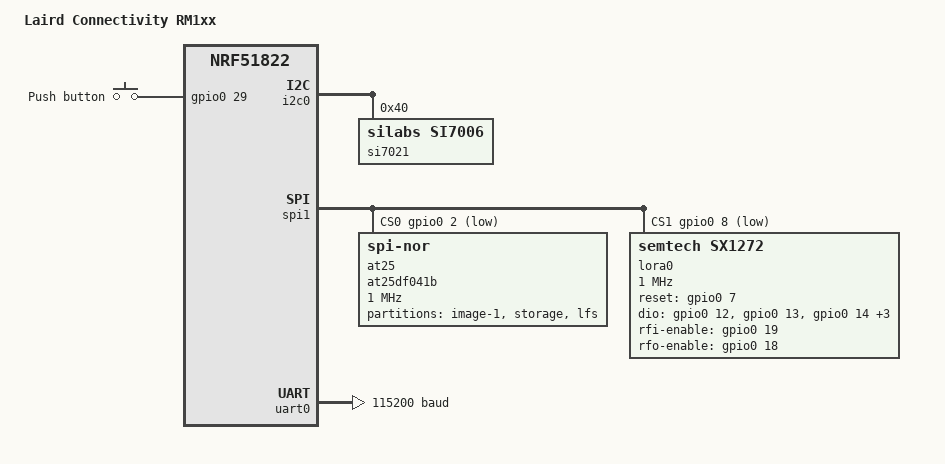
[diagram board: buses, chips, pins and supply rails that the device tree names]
/*
 * Copyright (c) 2021 Laird Connectivity
 * Copyright (c) 2024 Jamie M.
 *
 * SPDX-License-Identifier: Apache-2.0
 */

/dts-v1/;
#include <nordic/nrf51822_qfac.dtsi>
#include "rs1xx-pinctrl.dtsi"
#include <zephyr/dt-bindings/input/input-event-codes.h>

/ {
	model = "Laird Connectivity RM1xx";
	compatible = "lairdconnect,rm1xx";

	chosen {
		zephyr,console = &uart0;
		zephyr,shell-uart = &uart0;
		zephyr,bt-mon-uart = &uart0;
		zephyr,bt-c2h-uart = &uart0;
		zephyr,sram = &sram0;
		zephyr,flash = &flash0;
		zephyr,code-partition = &slot0_partition;
	};

	buttons {
		compatible = "gpio-keys";
		button0: button_0 {
			gpios = <&gpio0 29 (GPIO_PULL_DOWN | GPIO_ACTIVE_HIGH)>;
			label = "Push button";
			zephyr,code = <INPUT_KEY_0>;
		};
	};

	/* These aliases are provided for compatibility with samples */
	aliases {
		sw0 = &button0;
		lora0 = &lora0;
		watchdog0 = &wdt0;
		spi-flash0 = &at25;
	};
};

&gpiote {
	status = "okay";
};

&gpio0 {
	status = "okay";
};

&i2c0 {
	compatible = "nordic,nrf-twi";
	status = "okay";
	pinctrl-0 = <&i2c0_default>;
	pinctrl-1 = <&i2c0_sleep>;
	pinctrl-names = "default", "sleep";

	si7021: si7021@40 {
		compatible = "silabs,si7006";
		reg = <0x40>;
		status = "okay";
	};
};

&spi1 {
	compatible = "nordic,nrf-spi";
	status = "okay";
	cs-gpios = <&gpio0 2 (GPIO_ACTIVE_LOW | GPIO_PULL_UP)>,
		   <&gpio0 8 (GPIO_ACTIVE_LOW | GPIO_PULL_UP)>;

	pinctrl-0 = <&spi1_default>;
	pinctrl-1 = <&spi1_sleep>;
	pinctrl-names = "default", "sleep";

	at25: at25df041b@0 {
		compatible = "jedec,spi-nor";
		reg = <0>;
		spi-max-frequency = <1000000>;
		jedec-id = [1f 44 02];
		size = <0x400000>;
		has-lock = <0xbc>;
		has-dpd;
		t-enter-dpd = <500>;
		t-exit-dpd = <20>;
	};

	lora0: lora@1 {
		compatible = "semtech,sx1272";
		reg = <1>;
		reset-gpios = <&gpio0 7 GPIO_ACTIVE_HIGH>;
		dio-gpios = <&gpio0 12 GPIO_ACTIVE_HIGH>,
			    <&gpio0 13 GPIO_ACTIVE_HIGH>,
			    <&gpio0 14 GPIO_ACTIVE_HIGH>,
			    <&gpio0 15 GPIO_ACTIVE_HIGH>,
			    <&gpio0 16 GPIO_ACTIVE_HIGH>,
			    <&gpio0 1 GPIO_ACTIVE_HIGH>;
		rfi-enable-gpios = <&gpio0 19 GPIO_ACTIVE_HIGH>;
		rfo-enable-gpios = <&gpio0 18 GPIO_ACTIVE_HIGH>;
		spi-max-frequency = <1000000>;
	};
};

&uart0 {
	compatible = "nordic,nrf-uart";
	current-speed = <115200>;
	status = "okay";
	pinctrl-0 = <&uart0_default>;
	pinctrl-1 = <&uart0_sleep>;
	pinctrl-names = "default", "sleep";
};

&flash0 {
	partitions {
		compatible = "fixed-partitions";
		#address-cells = <1>;
		#size-cells = <1>;

		/* 32KiB */
		boot_partition: partition@0 {
			label = "mcuboot";
			reg = <0x00000000 0x00008000>;
		};

		/* 224KiB */
		slot0_partition: partition@8000 {
			label = "image-0";
			reg = <0x00008000 0x00038000>;
		};
	};
};

&at25 {
	partitions {
		compatible = "fixed-partitions";
		#address-cells = <1>;
		#size-cells = <1>;

		/* 224KiB */
		slot1_partition: partition@0 {
			label = "image-1";
			reg = <0x00000000 0x00038000>;
		};

		/* 64KiB */
		storage_partition: partition@38000 {
			label = "storage";
			reg = <0x00038000 0x00010000>;
		};

		/* 224KiB */
		lfs_partition: partition@48000 {
			label = "lfs";
			reg = <0x00048000 0x00038000>;
		};
	};
};
